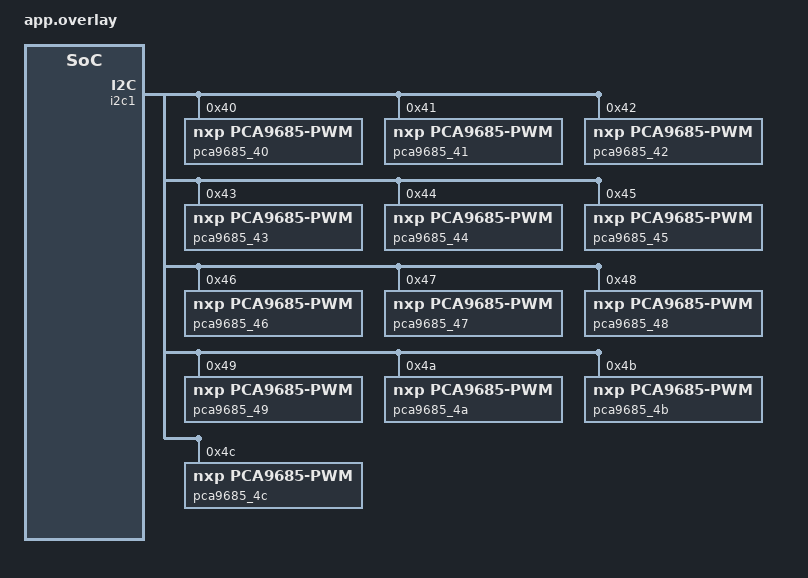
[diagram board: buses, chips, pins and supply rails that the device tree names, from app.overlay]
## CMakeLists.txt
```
cmake_minimum_required(VERSION 3.20.0)

find_package(Zephyr REQUIRED HINTS $ENV{ZEPHYR_BASE})
project(blink_nucleo_f411re)

target_sources(app PRIVATE
    src/main.cpp
    src/LEDS.cpp)
```

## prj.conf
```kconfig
CONFIG_GPIO=y
CONFIG_I2C=y
CONFIG_PWM=y
CONFIG_SERIAL=y
CONFIG_CONSOLE=y
CONFIG_UART_CONSOLE=y
CONFIG_PRINTK=y
CONFIG_LOG=y
```

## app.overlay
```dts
&i2c1 {
    status = "okay";

    pca9685_40: pca9685@40 {
        status = "okay";
        compatible = "nxp,pca9685-pwm";
        reg = <0x40>;
        #pwm-cells = <3>;
    };

    pca9685_41: pca9685@41 {
        status = "okay";
        compatible = "nxp,pca9685-pwm";
        reg = <0x41>;
        #pwm-cells = <3>;
    };

    pca9685_42: pca9685@42 {
        status = "okay";
        compatible = "nxp,pca9685-pwm";
        reg = <0x42>;
        #pwm-cells = <3>;
    };

    pca9685_43: pca9685@43 {
        status = "okay";
        compatible = "nxp,pca9685-pwm";
        reg = <0x43>;
        #pwm-cells = <3>;
    };

    pca9685_44: pca9685@44 {
        status = "okay";
        compatible = "nxp,pca9685-pwm";
        reg = <0x44>;
        #pwm-cells = <3>;
    };

    pca9685_45: pca9685@45 {
        status = "okay";
        compatible = "nxp,pca9685-pwm";
        reg = <0x45>;
        #pwm-cells = <3>;
    };

    pca9685_46: pca9685@46 {
        status = "okay";
        compatible = "nxp,pca9685-pwm";
        reg = <0x46>;
        #pwm-cells = <3>;
    };

    pca9685_47: pca9685@47 {
        status = "okay";
        compatible = "nxp,pca9685-pwm";
        reg = <0x47>;
        #pwm-cells = <3>;
    };

    pca9685_48: pca9685@48 {
        status = "okay";
        compatible = "nxp,pca9685-pwm";
        reg = <0x48>;
        #pwm-cells = <3>;
    };

    pca9685_49: pca9685@49 {
        status = "okay";
        compatible = "nxp,pca9685-pwm";
        reg = <0x49>;
        #pwm-cells = <3>;
    };

    pca9685_4a: pca9685@4a {
        status = "okay";
        compatible = "nxp,pca9685-pwm";
        reg = <0x4a>;
        #pwm-cells = <3>;
    };

    pca9685_4b: pca9685@4b {
        status = "okay";
        compatible = "nxp,pca9685-pwm";
        reg = <0x4b>;
        #pwm-cells = <3>;
    };

    pca9685_4c: pca9685@4c {
        status = "okay";
        compatible = "nxp,pca9685-pwm";
        reg = <0x4c>;
        #pwm-cells = <3>;
    };
};
```

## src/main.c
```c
#include <zephyr/devicetree.h>
#include <zephyr/drivers/gpio.h>
#include <zephyr/drivers/pwm.h>
#include <zephyr/kernel.h>
#include <stdio.h>

#define LED0_NODE DT_ALIAS(led0)
#define PCA9685_PERIOD PWM_MSEC(5)
#define PCA9685_CHANNEL_COUNT 16U

#if !DT_NODE_HAS_STATUS(LED0_NODE, okay)
#error "This board does not define a usable led0 alias"
#endif

static const struct gpio_dt_spec led = GPIO_DT_SPEC_GET(LED0_NODE, gpios);

struct pca9685_controller {
    const struct device *dev;
    uint8_t address;
};

#define PCA9685_CTRL(node_label, addr)                  \
    {                                                   \
        .dev = DEVICE_DT_GET(DT_NODELABEL(node_label)), \
        .address = (addr),                              \
    }

static const struct pca9685_controller pca9685_controllers[] = {
    PCA9685_CTRL(pca9685_40, 0x40),
    PCA9685_CTRL(pca9685_41, 0x41),
    PCA9685_CTRL(pca9685_42, 0x42),
    PCA9685_CTRL(pca9685_43, 0x43),
    PCA9685_CTRL(pca9685_44, 0x44),
    PCA9685_CTRL(pca9685_45, 0x45),
    PCA9685_CTRL(pca9685_46, 0x46),
    PCA9685_CTRL(pca9685_47, 0x47),
    PCA9685_CTRL(pca9685_48, 0x48),
    PCA9685_CTRL(pca9685_49, 0x49),
    PCA9685_CTRL(pca9685_4a, 0x4A),
    PCA9685_CTRL(pca9685_4b, 0x4B),
    PCA9685_CTRL(pca9685_4c, 0x4C),
};

static void set_all_pca9685_channels(uint32_t pulse)
{
    for (size_t ctrl = 0; ctrl < ARRAY_SIZE(pca9685_controllers); ctrl++) {
        for (uint32_t channel = 0; channel < PCA9685_CHANNEL_COUNT; channel++) {
            (void)pwm_set(pca9685_controllers[ctrl].dev, channel,
                          PCA9685_PERIOD, pulse, 0U);
        }
    }
}

static void report_pca9685_status(void)
{
    for (size_t ctrl = 0; ctrl < ARRAY_SIZE(pca9685_controllers); ctrl++) {
        if (device_is_ready(pca9685_controllers[ctrl].dev)) {
            printf("PCA9685 ready at 0x%02X\r\n",
                   pca9685_controllers[ctrl].address);
        } else {
            printf("PCA9685 not ready at 0x%02X\r\n",
                   pca9685_controllers[ctrl].address);
        }
    }
}

static void run_pca9685_chase_step(size_t step)
{
    const size_t controller_index = step / PCA9685_CHANNEL_COUNT;
    const uint32_t channel = step % PCA9685_CHANNEL_COUNT;

    set_all_pca9685_channels(0U);

    if (controller_index < ARRAY_SIZE(pca9685_controllers) &&
        device_is_ready(pca9685_controllers[controller_index].dev)) {
        (void)pwm_set(pca9685_controllers[controller_index].dev, channel,
                      PCA9685_PERIOD, PCA9685_PERIOD / 2U, 0U);
    }
}

static void set_one_pca9685_channel(uint8_t channel, uint32_t pulse) {
    uint8_t device = channel / ARRAY_SIZE(pca9685_controllers);
    uint8_t channel_internal = channel % PCA9685_CHANNEL_COUNT;
    int err = pwm_set(pca9685_controllers[device].dev, channel_internal,
            PCA9685_PERIOD, pulse, 0U);
    if (err != 0) {
        printf("Setting PWM value failed with %d error code.", err);
    }
}

int main(void)
{
    int ret;
    uint32_t blink_count = 0U;
    size_t chase_step = 0U;

    setvbuf(stdout, NULL, _IONBF, 0);

    if (!gpio_is_ready_dt(&led)) {
        printf("Error: LED GPIO device is not ready\n");
        return 0;
    }

    ret = gpio_pin_configure_dt(&led, GPIO_OUTPUT_INACTIVE);
    if (ret < 0) {
        printf("Error: failed to configure LED pin (%d)\n", ret);
        return 0;
    }

    printf("\r\nBassline Junkie Interface\r\n");
    printf("Console TX ready on ttyACM0.\r\n");
    report_pca9685_status();
    set_all_pca9685_channels(0U);

    while (1) {
        ret = gpio_pin_toggle_dt(&led);
        if (ret < 0) {
            printf("Error: failed to toggle LED (%d)\n", ret);
            return 0;
        }

        run_pca9685_chase_step(chase_step);
        chase_step = (chase_step + 1U) %
                     (ARRAY_SIZE(pca9685_controllers) * PCA9685_CHANNEL_COUNT);

        blink_count++;
        if ((blink_count % 10U) == 0U) {
            printf("Heartbeat: LED blink running, chase step %u\r\n", (unsigned int)chase_step);
        }

        k_msleep(100);
    }
}
```

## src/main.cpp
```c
#include <zephyr/devicetree.h>
#include <zephyr/drivers/gpio.h>
#include <zephyr/drivers/pwm.h>
#include <zephyr/kernel.h>
#include <zephyr/logging/log.h>
#include "LEDS.h"

LOG_MODULE_REGISTER(app, LOG_LEVEL_INF);

#define LED0_NODE DT_ALIAS(led0)

#if !DT_NODE_HAS_STATUS(LED0_NODE, okay)
#error "This board does not define a usable led0 alias"
#endif

static const struct gpio_dt_spec led = GPIO_DT_SPEC_GET(LED0_NODE, gpios);


int main(void)
{
    int ret;
    uint32_t blink_count = 0U;
    size_t chase_step = 0U;


    if (!gpio_is_ready_dt(&led)) {
        LOG_ERR("LED GPIO device is not ready");
        return 0;
    }

    ret = gpio_pin_configure_dt(&led, GPIO_OUTPUT_INACTIVE);
    if (ret < 0) {
        LOG_ERR("Failed to configure LED pin: %d", ret);
        return 0;
    }

    LOG_INF("Bassline Junkie Interface");
    LOG_INF("Console TX ready on ttyACM0");

    LEDS leds;
    ret = leds.init();
    if (ret < 0) {
        LOG_ERR("Failed to initialize LED controllers: %d", ret);
        return 0;
    }

    while (1) {
        ret = gpio_pin_toggle_dt(&led);
        if (ret < 0) {
            LOG_ERR("Failed to toggle LED: %d", ret);
            return 0;
        }

        ret = leds.clear_all();
        if (ret < 0) {
            LOG_ERR("Failed to clear LED channels: %d", ret);
            return 0;
        }

        ret = leds.set_channel_percent(chase_step, 50U);
        if (ret < 0) {
            LOG_ERR("Failed to set LED channel: %d", ret);
            return 0;
        }

        chase_step = (chase_step + 1U) % LEDS::led_count;

        blink_count++;
        if ((blink_count % 10U) == 0U) {
            LOG_INF("Heartbeat: LED blink running, chase step %u", (unsigned int)chase_step);
        }

        k_msleep(100);
    }
}
```

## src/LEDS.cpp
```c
/*
 * LEDS.cpp
 *
 *  Created on: Mar 26, 2026
 *      Author: alax
 */

#include "LEDS.h"
#include <errno.h>
#include <zephyr/logging/log.h>

LOG_MODULE_REGISTER(leds, LOG_LEVEL_INF);

#define PCA9685_CTRL(node_label)                           \
    {                                                      \
        .dev = DEVICE_DT_GET(DT_NODELABEL(node_label)),    \
        .address = DT_REG_ADDR(DT_NODELABEL(node_label)),  \
    }

const LEDS::pca9685_controller LEDS::pca9685_controllers[] = {
    PCA9685_CTRL(pca9685_40),
    PCA9685_CTRL(pca9685_41),
    PCA9685_CTRL(pca9685_42),
    PCA9685_CTRL(pca9685_43),
    PCA9685_CTRL(pca9685_44),
    PCA9685_CTRL(pca9685_45),
    PCA9685_CTRL(pca9685_46),
    PCA9685_CTRL(pca9685_47),
    PCA9685_CTRL(pca9685_48),
    PCA9685_CTRL(pca9685_49),
    PCA9685_CTRL(pca9685_4a),
    PCA9685_CTRL(pca9685_4b),
    PCA9685_CTRL(pca9685_4c),
};

const size_t LEDS::controller_count = ARRAY_SIZE(LEDS::pca9685_controllers);
const size_t LEDS::led_count = LEDS::controller_count * LEDS::pca9685_channel_count;

int LEDS::init() {
    initialized_ = false;

    const int status = report_status();
    if (status != 0) {
        return status;
    }

    initialized_ = true;

    const int err = clear_all();
    if (err != 0) {
        initialized_ = false;
    }

    return err;
}

int LEDS::clear_all() {
    int err = 0;

    if (!initialized_) {
        LOG_ERR("LED controller not initialized");
        return -EACCES;
    }

    for (size_t ctrl = 0; ctrl < controller_count; ctrl++) {
        for (uint32_t channel = 0; channel < pca9685_channel_count; channel++) {
            err = pwm_set(pca9685_controllers[ctrl].dev, channel, pca9685_period, 0U, 0U);
            if (err != 0) {
                LOG_ERR("Failed to clear controller 0x%02x channel %u: %d",
                        pca9685_controllers[ctrl].address, channel, err);
                return err;
            }
        }
    }

    return 0;
}

int LEDS::report_status() {
    int err = 0;

    for (size_t ctrl = 0; ctrl < controller_count; ctrl++) {
        if (device_is_ready(pca9685_controllers[ctrl].dev)) {
            LOG_INF("PCA9685 ready at 0x%02x",
                    pca9685_controllers[ctrl].address);
        } else {
            LOG_ERR("PCA9685 not ready at 0x%02x",
                    pca9685_controllers[ctrl].address);
            if (err == 0) {
                err = -ENODEV;
            }
        }
    }

    return err;
}

int LEDS::set_channel(size_t channel, uint32_t pulse) {
    int err = 0;

    if (!initialized_) {
        LOG_ERR("LED controller not initialized");
        return -EACCES;
    }

    if (channel >= led_count) {
        LOG_ERR("Invalid PCA9685 channel %u", (unsigned int)channel);
        return -EINVAL;
    }

    const size_t device = channel / pca9685_channel_count;
    const uint32_t channel_internal = channel % pca9685_channel_count;
    err = pwm_set(pca9685_controllers[device].dev, channel_internal, pca9685_period, pulse, 0U);
    if (err != 0) {
        LOG_ERR("Failed to set controller 0x%02x channel %u: %d",
                pca9685_controllers[device].address, channel_internal, err);
    }

    return err;
}
```

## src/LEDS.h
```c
/*
 * LEDS.h
 *
 *  Created on: Mar 26, 2026
 *      Author: alax
 */

#ifndef SRC_LEDS_H_
#define SRC_LEDS_H_

#include <zephyr/devicetree.h>
#include <zephyr/drivers/pwm.h>

#include <stddef.h>
#include <stdint.h>

class LEDS {
public:
    static const size_t led_count;

    LEDS() = default;

    int init();
    int clear_all();
    int set_channel_percent(size_t channel, uint8_t percent);
    int set_channel(size_t channel, uint32_t pulse);

private:
    static const uint32_t pca9685_period = PWM_MSEC(5);
    static const size_t pca9685_channel_count = 16U;
    static const size_t pca9685_count;

    int report_status();

    struct pca9685_controller {
        const struct device *dev;
        uint8_t address;
    };

    bool initialized_ = false;

    static const pca9685_controller pca9685_controllers[];
};

#endif /* SRC_LEDS_H_ */
```
